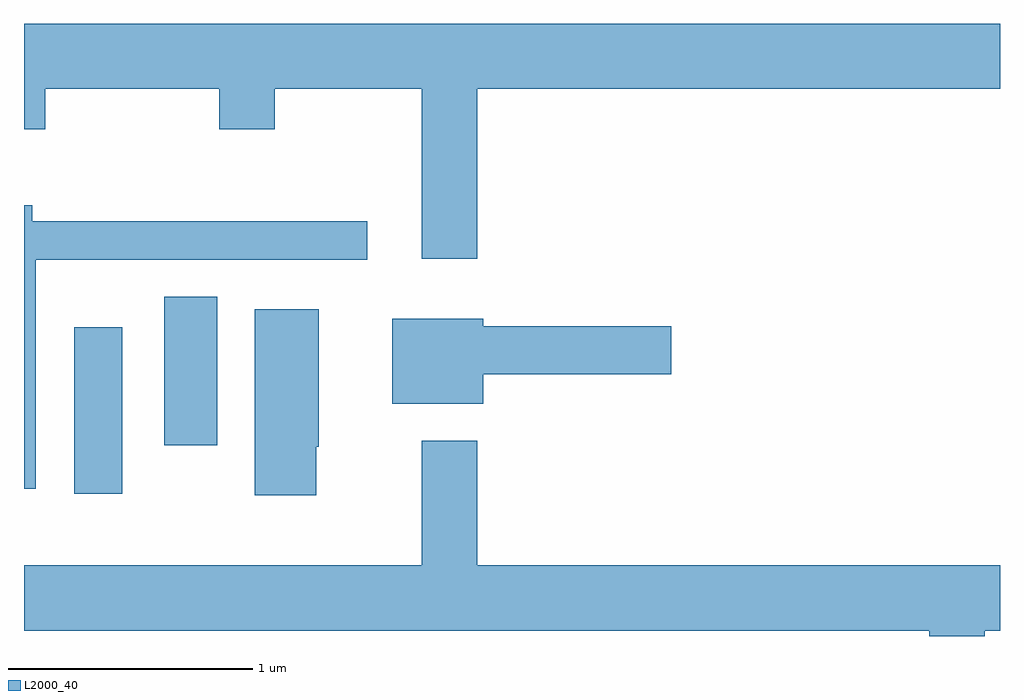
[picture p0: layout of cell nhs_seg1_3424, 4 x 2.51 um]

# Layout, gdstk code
import gdstk
lib = gdstk.Library(unit=1e-6, precision=1e-09)
def R(c, l, rs):  # rectangles x0, y0, x1, y1
    for r in rs: c.add(gdstk.rectangle(r[:2], r[2:], *l))
def P(c, l, *ps):  # polygons
    for p in ps: c.add(gdstk.Polygon(p, *l))
L2000_40 = (2000, 40)

nhs_seg1_3424 = lib.new_cell('nhs_seg1_3424')
R(nhs_seg1_3424, L2000_40, [(287.816,962.296,288.014,962.979), (288.186,962.496,288.404,963.104)])
P(nhs_seg1_3424, L2000_40, [(289.469,963.956),(291.611,963.956),(291.611,964.224),(287.611,964.224),(287.611,963.791),(287.699,963.791),(287.699,963.956),(288.411,963.956),(288.411,963.791),(288.639,963.791),(288.639,963.956),(289.241,963.956),(289.241,963.261),(289.469,963.261)],
  [(287.659,963.256),(289.018,963.256),(289.018,963.414),(287.644,963.414),(287.644,963.479),(287.611,963.479),(287.611,962.318),(287.659,962.318)],
  [(288.809,962.49),(288.819,962.49),(288.819,963.054),(288.556,963.054),(288.556,962.291),(288.809,962.291)],
  [(289.494,962.786),(290.264,962.786),(290.264,962.984),(289.494,962.984),(289.494,963.014),(289.121,963.014),(289.121,962.666),(289.494,962.666)],
  [(291.549,961.736),(291.611,961.736),(291.611,962.004),(289.469,962.004),(289.469,962.514),(289.241,962.514),(289.241,962.004),(287.611,962.004),(287.611,961.736),(291.321,961.736),(291.321,961.712),(291.549,961.712)])

lib.write_gds('nhs_seg1_3424.gds')
